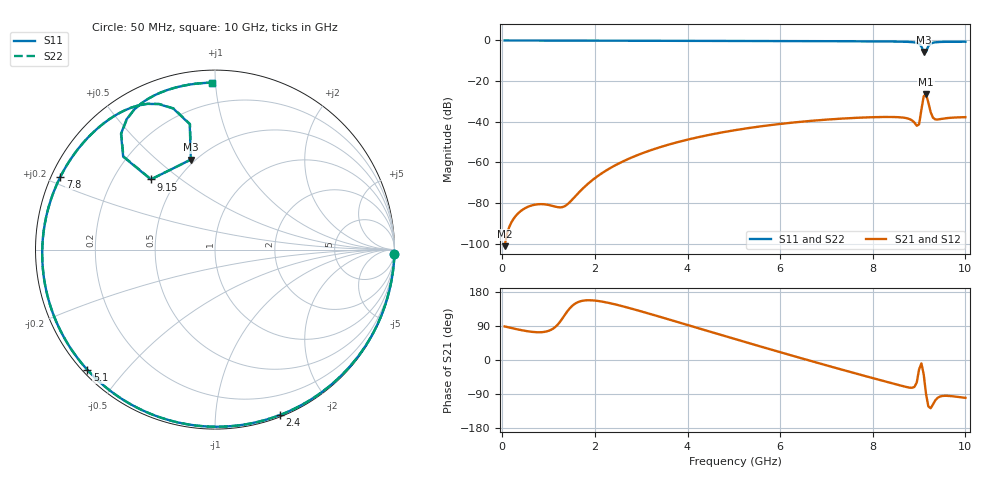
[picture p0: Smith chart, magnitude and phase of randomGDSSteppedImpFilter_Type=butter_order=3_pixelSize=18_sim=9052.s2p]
! freq	dB(S11)	phase(S11)	dB(S12)	phase(S12)
!  dB(S21)	phase(S21)	dB(S22)	phase(S22)
!S-par simulation data
#  GHz  S  DB  R 50
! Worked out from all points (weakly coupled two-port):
!   200 points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, 50 MHz to 10 GHz, reference 50 ohm
!   highest |S21| = -26.39 dB at 9.15 GHz (marker M1); lowest = -101.2 dB at 50 MHz (marker M2)
!   lowest |S11| = -5.7 dB at 9.1 GHz (marker M3), VSWR 3.16, Z = 23.7 + j32.6 ohm
!   |S11| at or under -10 dB: nowhere
!   |S22| runs from -5.7 to 0.0 dB; largest |S21 - S12| = 0
!   S11 on the Smith chart (normalised r, x): 50 MHz: 0, -77; 2.4 GHz: 0.02, -1.47; 5.1 GHz: 0.01, -0.40; 7.8 GHz: 0.03, +0.22; 9.15 GHz: 0.36, +0.39; 10 GHz: 0.07, +0.98
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0.05  -0.00 -1.5  -101.16 88.6  -101.16 88.6  -0.00 -1.5
0.7  -0.03 -20.6  -80.77 73.6  -80.77 73.6  -0.03 -20.6
1.4  -0.05 -40.8  -80.71 127.7  -80.71 127.7  -0.05 -40.9
1.75  -0.06 -50.7  -72.56 156.7  -72.56 156.7  -0.06 -50.7
2.4  -0.09 -68.5  -61.87 147.9  -61.87 147.9  -0.09 -68.6
3.4  -0.12 -94.7  -52.53 114.1  -52.53 114.1  -0.12 -94.8
4.2  -0.15 -114.8  -47.72 85.2  -47.72 85.2  -0.15 -114.8
5.05  -0.20 -135.4  -44.02 54.4  -44.02 54.4  -0.20 -135.5
5.1  -0.20 -136.7  -43.84 52.6  -43.84 52.6  -0.20 -136.7
6.7  -0.32 -175.9  -39.47 -3.8  -39.47 -3.8  -0.32 -176.0
7.8  -0.43 154.7  -37.89 -41.2  -37.89 -41.2  -0.43 154.6
8.35  -0.51 138.0  -37.62 -59.2  -37.62 -59.2  -0.51 137.9
8.75  -0.68 123.1  -38.33 -71.9  -38.33 -71.9  -0.68 122.9
8.95  -1.22 111.1  -41.96 -59.2  -41.96 -59.2  -1.22 111.0
9  -1.73 106.5  -41.25 -24.6  -41.25 -24.6  -1.73 106.3
9.05  -2.94 101.4  -34.05 -8.8  -34.05 -8.8  -2.94 101.3
9.1  -5.69 105.0  -27.42 -38.0  -27.42 -38.0  -5.70 104.9
9.15  -5.52 132.4  -26.39 -89.6  -26.39 -89.6  -5.52 132.3
9.2  -2.76 134.7  -30.56 -122.5  -30.56 -122.5  -2.76 134.5
9.25  -1.61 129.1  -35.24 -127.3  -35.24 -127.3  -1.61 128.9
9.35  -0.92 120.3  -38.84 -106.5  -38.84 -106.5  -0.92 120.1
10  -0.63 91.1  -37.71 -99.9  -37.71 -99.9  -0.63 90.9
